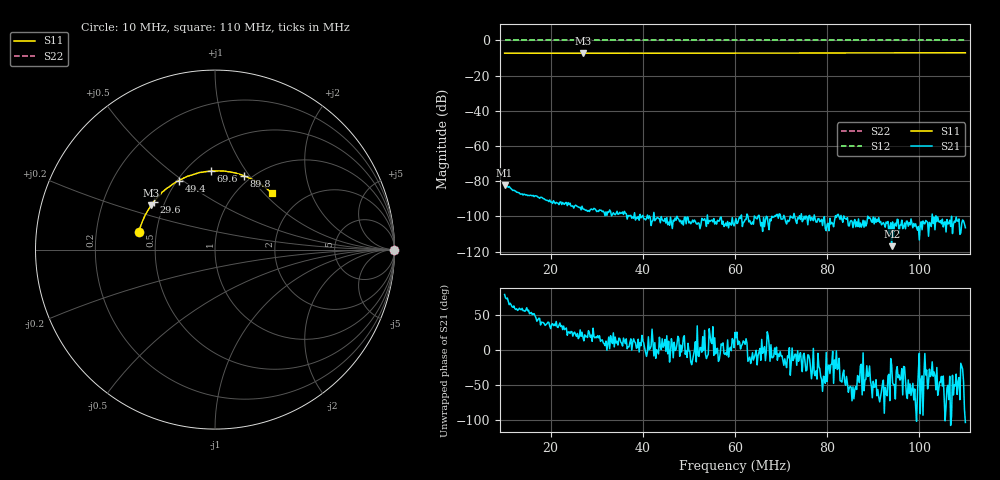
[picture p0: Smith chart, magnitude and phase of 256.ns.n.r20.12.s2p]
! Anritsu VNA Master:  Model: MS2036C/10/77
! SN:  1601066
! /card0/usr/256.ns.n.r20.12.s2p
! Existing Calibration Information:
! TYPE:  Current Settings,  Active Cal Settings
! TIME:  12/19/2017 04:05:22 PM,  12/19/2017 03:58:02 PM
! INTERNAL TEMP:  46.8 C,  47.0 C
! # POINTS:  501,  501
! START FREQ:  10.000 MHz,  10.000 MHz
! STOP FREQ:  110.000 MHz,  110.000 MHz
! SOURCE POWER:  High,  High
! IFBW:  100 Hz,  100 Hz
! AVG FACTOR:  1 ,  1
! REF PLANE 1:  0 mm,  0 mm
! REF PLANE 2:  0 mm,  0 mm
! CAL TYPE:  Full S11,  Full S11
! CAL METHOD:  SOLT,  SOLT
! CAL LINE TYPE:  Coax,  Coax
! DUT PORT 1:  N-Conn(F),  N-Conn(F)
! DUT PORT 2:  K-Conn(F),  K-Conn(F)
! CAL STATUS:  OK: Accuracy High,  --
# GHZ S DB R 50.0
! FREQ.GHZ  S11DB  S11A  S21DB  S21A  S12DB  S12A  S22DB  S22A
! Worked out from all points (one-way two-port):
!   501 points, 10 MHz to 110 MHz, reference 50 ohm
!   highest |S21| = -82.38 dB at 10 MHz (marker M1); lowest = -116.9 dB at 94 MHz (marker M2)
!   lowest |S11| = -7.3 dB at 27 MHz (marker M3), VSWR 2.52, Z = 21.4 + j13 ohm
!   |S11| at or under -10 dB: nowhere
!   |S22| runs from 0.0 to 0.0 dB; largest |S21 - S12| = 1
!   S11 on the Smith chart (normalised r, x): 10 MHz: 0.40, +0.10; 29.6 MHz: 0.43, +0.28; 49.4 MHz: 0.51, +0.48; 69.6 MHz: 0.65, +0.71; 89.8 MHz: 0.92, +0.94; 110 MHz: 1.41, +1.12
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0.01  -7.23 167.0  -82.38 79.6  0.00 0.0  0.00 0.0
0.014  -7.24 161.9  -87.81 56.6  0.00 0.0  0.00 0.0
0.0194  -7.26 155.0  -90.90 40.1  0.00 0.0  0.00 0.0
0.0268  -7.29 145.6  -94.15 25.8  0.00 0.0  0.00 0.0
0.027  -7.29 145.3  -95.75 18.6  0.00 0.0  0.00 0.0
0.0296  -7.26 142.1  -95.68 17.7  0.00 0.0  0.00 0.0
0.0366  -7.24 133.2  -101.50 2.2  0.00 0.0  0.00 0.0
0.041  -7.24 128.0  -99.19 -2.1  0.00 0.0  0.00 0.0
0.0434  -7.27 124.8  -101.16 -5.3  0.00 0.0  0.00 0.0
0.0476  -7.23 119.7  -101.02 19.9  0.00 0.0  0.00 0.0
0.0494  -7.27 117.6  -104.15 -0.9  0.00 0.0  0.00 0.0
0.0548  -7.20 110.8  -102.27 11.6  0.00 0.0  0.00 0.0
0.06  -7.21 104.5  -103.52 25.6  0.00 0.0  0.00 0.0
0.0628  -7.17 101.3  -99.73 -15.9  0.00 0.0  0.00 0.0
0.0696  -7.17 93.0  -98.52 -9.1  0.00 0.0  0.00 0.0
0.0768  -7.13 84.3  -100.93 -28.9  0.00 0.0  0.00 0.0
0.0846  -7.10 75.0  -105.23 -60.1  0.00 0.0  0.00 0.0
0.0898  -7.10 68.8  -103.34 -67.9  0.00 0.0  0.00 0.0
0.0934  -7.09 64.4  -109.88 -34.4  0.00 0.0  0.00 0.0
0.094  -7.09 63.7  -116.87 -21.3  0.00 0.0  0.00 0.0
0.1016  -7.03 54.7  -102.76 -28.3  0.00 0.0  0.00 0.0
0.11  -6.99 44.8  -106.40 -103.2  0.00 0.0  0.00 0.0
